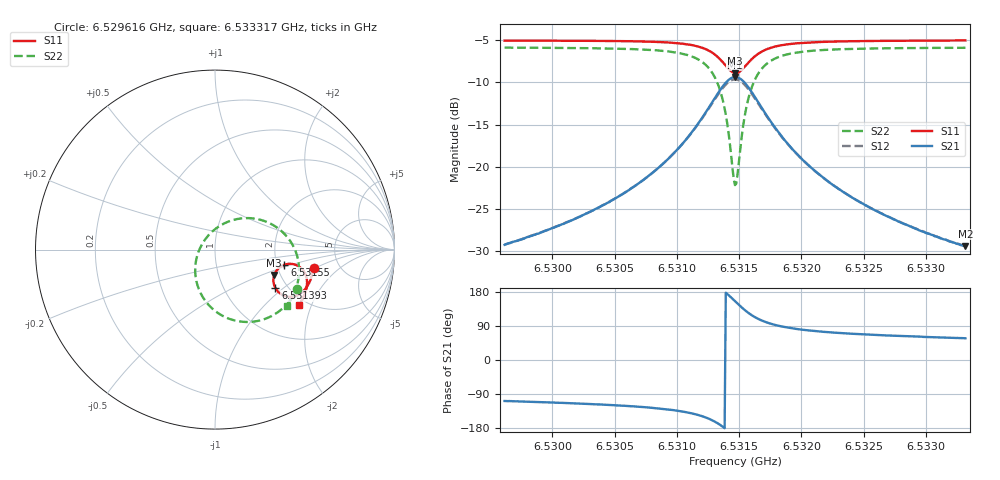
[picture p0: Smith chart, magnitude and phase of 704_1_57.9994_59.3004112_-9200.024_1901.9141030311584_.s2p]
#  HZ  S  RI  R  50.00
! Rohde & Schwarz Vector Network Analyzer
! Rohde-Schwarz,ZNB20-2Port,1311601062101988,3.16
! Created: UTC 3/21/2024, 1:21:53 AM
! freq[Hz]  re:S11  im:S11  re:S21  im:S21  re:S12  im:S12  re:S22  im:S22
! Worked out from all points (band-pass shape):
!   401 points, 6.529616 GHz to 6.533317 GHz, reference 50 ohm
!   highest |S21| = -9.35 dB at 6.531467 GHz (marker M1); lowest = -29.4 dB at 6.533317 GHz (marker M2)
!   |S21| within 3 dB of the highest: 6.531283 GHz to 6.531653 GHz (370 kHz wide, 0.00566 % of centre)
!   lowest |S11| = -8.9 dB at 6.531467 GHz (marker M3), VSWR 2.12, Z = 93 - j30.2 ohm
!   |S11| at or under -10 dB: nowhere
!   |S22| runs from -22.2 to -5.9 dB; largest |S21 - S12| = 0.015
!   S11 on the Smith chart (normalised r, x): 6.529616 GHz: 3.24, -0.95; 6.531393 GHz: 1.73, -0.88; 6.53155 GHz: 2.20, -0.44; 6.533317 GHz: 1.82, -1.64
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6.5296163e9  0.5511 -0.101  -0.0107 -0.0326  -0.0115 -0.0325  0.4587 -0.2204
6.5302362e9  0.5376 -0.1535  -0.0219 -0.0463  -0.023 -0.0457  0.4222 -0.279
6.5305785e9  0.5241 -0.1864  -0.0359 -0.0601  -0.0375 -0.0589  0.3854 -0.32
6.5308561e9  0.5048 -0.2177  -0.0608 -0.0782  -0.0632 -0.0764  0.3291 -0.3625
6.5310689e9  0.4744 -0.246  -0.1057 -0.0974  -0.1087 -0.0933  0.2391 -0.3972
6.5312354e9  0.4219 -0.2629  -0.1876 -0.0991  -0.1894 -0.0908  0.0906 -0.3894
6.5313279e9  0.3718 -0.2504  -0.2646 -0.0606  -0.2619 -0.0491  -0.0349 -0.3089
6.5313649e9  0.35 -0.2329  -0.2966 -0.0243  -0.2903 -0.0125  -0.0807 -0.2413
6.5313927e9  0.3362 -0.2133  -0.315 0.0134  -0.306 0.0242  -0.1039 -0.175
6.5314482e9  0.3261 -0.1602  -0.3206 0.1093  -0.3073 0.1147  -0.094 -0.017
6.5314667e9  0.3304 -0.1412  -0.3097 0.142  -0.2962 0.1451  -0.0697 0.0344
6.5314852e9  0.3385 -0.1237  -0.2926 0.172  -0.2793 0.1727  -0.0361 0.08
6.5315222e9  0.3638 -0.0963  -0.2441 0.218  -0.2334 0.215  0.051 0.1458
6.53155e9  0.3869 -0.0843  -0.2025 0.2372  -0.194 0.2331  0.1229 0.1702
6.5315777e9  0.4098 -0.0795  -0.1618 0.2449  -0.1556 0.2402  0.1913 0.1754
6.5316147e9  0.4372 -0.0814  -0.1149 0.2416  -0.1108 0.2371  0.2694 0.1612
6.5317073e9  0.4815 -0.1051  -0.0395 0.2049  -0.0376 0.2026  0.3909 0.0832
6.531846e9  0.5069 -0.1448  0.00472 0.1497  0.00596 0.1487  0.4551 -0.0267
6.5320866e9  0.5127 -0.1921  0.0217 0.095  0.023 0.0945  0.468 -0.1382
6.5323642e9  0.5064 -0.228  0.0233 0.0645  0.0243 0.0642  0.4551 -0.2061
6.5327065e9  0.4943 -0.2611  0.0215 0.0454  0.0224 0.0448  0.4346 -0.2571
6.5333171e9  0.4695 -0.3082  0.0182 0.0285  0.0187 0.028  0.399 -0.3145
